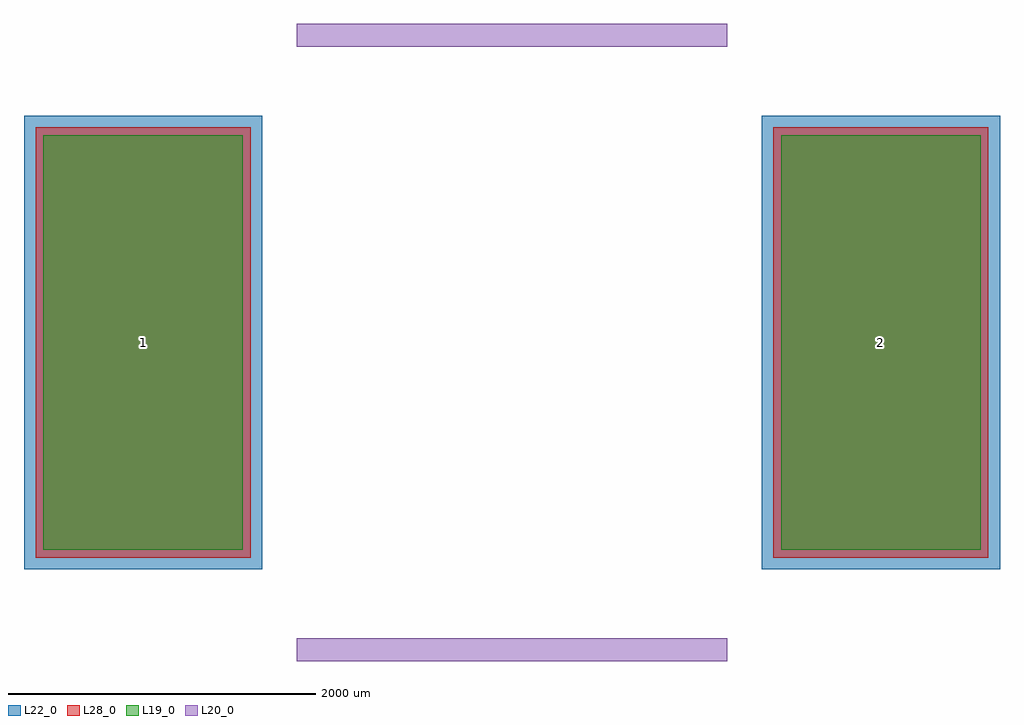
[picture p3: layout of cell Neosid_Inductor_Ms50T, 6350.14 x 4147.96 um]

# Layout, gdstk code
import gdstk
lib = gdstk.Library(unit=1e-6, precision=1e-09)
def R(c, l, rs):  # rectangles x0, y0, x1, y1
    for r in rs: c.add(gdstk.rectangle(r[:2], r[2:], *l))
L19_0 = (19, 0)
L20_0 = (20, 0)
L22_0 = (22, 0)
L28_0 = (28, 0)

neosid_inductor_ms50t = lib.new_cell('Neosid_Inductor_Ms50T')
R(neosid_inductor_ms50t, L19_0, [(-3050.07,-1349.54,-1750.53,1349.54), (1750.53,-1349.54,3050.07,1349.54)])
R(neosid_inductor_ms50t, L22_0, [(-3175.07,-1474.54,-1625.53,1474.54), (1625.53,-1474.54,3175.07,1474.54)])
R(neosid_inductor_ms50t, L28_0, [(-3100.07,-1399.54,-1700.53,1399.54), (1700.53,-1399.54,3100.07,1399.54)])
neosid_inductor_ms50t.add(gdstk.FlexPath([(1399.54,1998.98),(-1399.54,1998.98)], 149.998, ends="flush", simple_path=True, layer=20, datatype=0))  # L20_0
neosid_inductor_ms50t.add(gdstk.FlexPath([(-1399.54,-1998.98),(1399.54,-1998.98)], 149.998, ends="flush", simple_path=True, layer=20, datatype=0))  # L20_0
neosid_inductor_ms50t.add(gdstk.Label('2', (2400.3,0), layer=28, texttype=0))
neosid_inductor_ms50t.add(gdstk.Label('1', (-2400.3,0), layer=28, texttype=0))
neosid_inductor_ms50t.add(gdstk.Label('type', (0,-4500.88), layer=9, texttype=0))
neosid_inductor_ms50t.add(gdstk.Label('devicename', (0,3599.18), layer=9, texttype=0))

lib.write_gds('Neosid_Inductor_Ms50T.gds')
